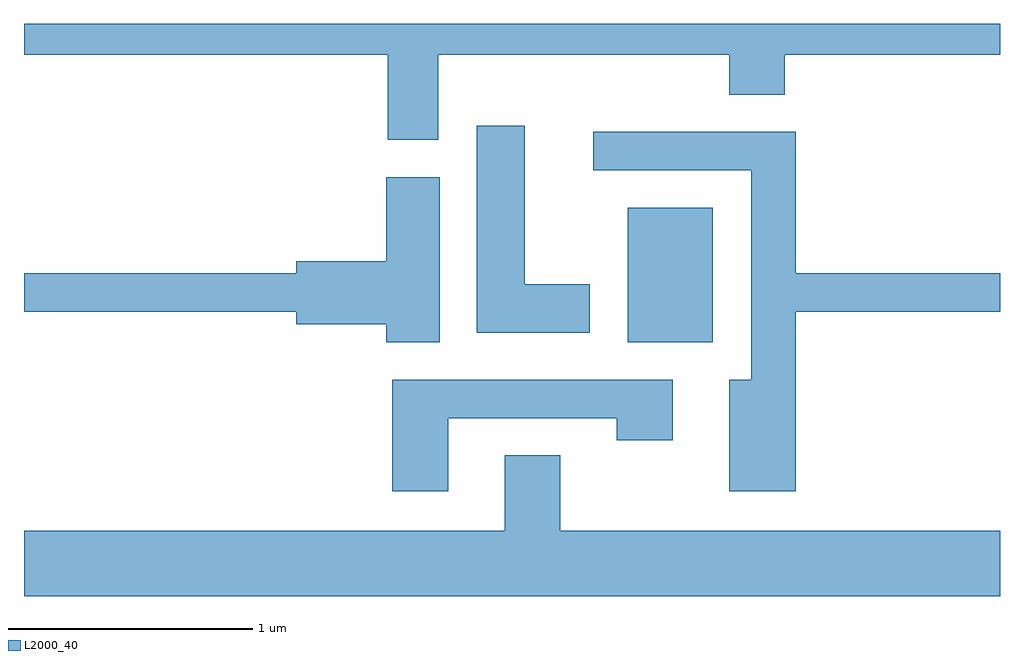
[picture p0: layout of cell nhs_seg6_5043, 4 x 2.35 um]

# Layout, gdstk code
import gdstk
lib = gdstk.Library(unit=1e-6, precision=1e-09)
def R(c, l, rs):  # rectangles x0, y0, x1, y1
    for r in rs: c.add(gdstk.rectangle(r[:2], r[2:], *l))
def P(c, l, *ps):  # polygons
    for p in ps: c.add(gdstk.Polygon(p, *l))
L2000_40 = (2000, 40)

nhs_seg6_5043 = lib.new_cell('nhs_seg6_5043')
R(nhs_seg6_5043, L2000_40, [(342.086,1548.856,342.434,1549.409)])
P(nhs_seg6_5043, L2000_40, [(341.309,1550.036),(342.501,1550.036),(342.501,1549.871),(342.729,1549.871),(342.729,1550.036),(343.611,1550.036),(343.611,1550.162),(339.611,1550.162),(339.611,1550.036),(341.101,1550.036),(341.101,1549.686),(341.309,1549.686)],
  [(341.929,1549.094),(341.664,1549.094),(341.664,1549.744),(341.466,1549.744),(341.466,1548.896),(341.929,1548.896)],
  [(342.774,1548.981),(343.611,1548.981),(343.611,1549.139),(342.774,1549.139),(342.774,1549.719),(341.943,1549.719),(341.943,1549.561),(342.591,1549.561),(342.591,1548.704),(342.501,1548.704),(342.501,1548.246),(342.774,1548.246)],
  [(341.314,1549.534),(341.096,1549.534),(341.096,1549.189),(340.726,1549.189),(340.726,1549.139),(339.611,1549.139),(339.611,1548.981),(340.726,1548.981),(340.726,1548.931),(341.096,1548.931),(341.096,1548.856),(341.314,1548.856)],
  [(341.349,1548.546),(342.041,1548.546),(342.041,1548.456),(342.269,1548.456),(342.269,1548.704),(341.121,1548.704),(341.121,1548.246),(341.349,1548.246)],
  [(343.611,1548.084),(341.809,1548.084),(341.809,1548.394),(341.581,1548.394),(341.581,1548.084),(339.611,1548.084),(339.611,1547.816),(343.611,1547.816)])

lib.write_gds('nhs_seg6_5043.gds')
